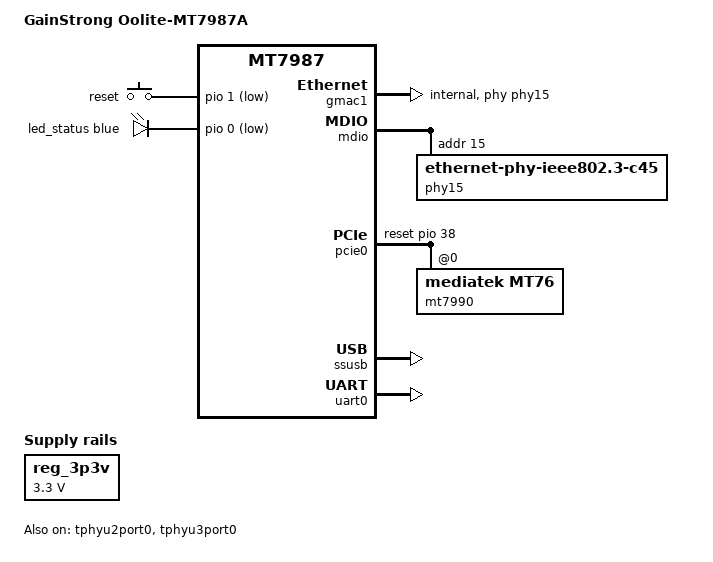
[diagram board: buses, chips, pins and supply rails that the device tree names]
// SPDX-License-Identifier: (GPL-2.0 OR MIT)

/dts-v1/;
#include <dt-bindings/input/input.h>
#include "mt7987a.dtsi"

/ {
	model = "GainStrong Oolite-MT7987A";
	compatible = "gainstrong,oolite-mt7987a",
		     "mediatek,mt7987a", "mediatek,mt7987";

	aliases {
		led-boot = &led_status;
		led-failsafe = &led_status;
		led-running = &led_status;
		led-upgrade = &led_status;
		serial0 = &uart0;
	};

	chosen {
		bootargs = "console=ttyS0,115200n1 earlycon=uart8250,mmio32,0x11000000 pci=pcie_bus_perf root=/dev/fit0 rootwait";
		stdout-path = "serial0:115200n8";
	};

	gpio-keys {
		compatible = "gpio-keys";

		reset {
			label = "reset";
			linux,code = <KEY_RESTART>;
			gpios = <&pio 1 GPIO_ACTIVE_LOW>;
			debounce-interval = <60>;
		};
	};

	gpio-leds {
		compatible = "gpio-leds";

		led_status: status {
			color = <LED_COLOR_ID_BLUE>;
			function = LED_FUNCTION_STATUS;
			gpios = <&pio 0 GPIO_ACTIVE_LOW>;
		};
	};

	reg_3p3v: regulator-3p3v {
		compatible = "regulator-fixed";
		regulator-name = "fixed-3.3V";
		regulator-min-microvolt = <3300000>;
		regulator-max-microvolt = <3300000>;
		regulator-boot-on;
		regulator-always-on;
	};
};

&gmac1 {
	openwrt,netdev-name = "lan";
	phy-mode = "internal";
	phy-handle = <&phy15>;
	status = "okay";
};

&mdio {
	phy15: phy@15 {
		compatible = "ethernet-phy-ieee802.3-c45";
		reg = <15>;
		phy-mode = "internal";
	};
};

&pcie0 {
	pinctrl-names = "default";
	pinctrl-0 = <&pcie0_pins>;
	reset-gpios = <&pio 38 GPIO_ACTIVE_HIGH>;
	status = "okay";

	pcie@0,0 {
		reg = <0x0000 0 0 0 0>;
		#address-cells = <3>;
		#size-cells = <2>;

		mt7990@0,0 {
			compatible = "mediatek,mt76";
			reg = <0x0000 0 0 0 0>;
			#address-cells = <1>;
			#size-cells = <0>;
			device_type = "pci";
			ieee80211-freq-limit = <2400000 2500000>,
					       <5170000 5835000>;
		};
	};
};

&ssusb {
	vusb33-supply = <&reg_3p3v>;
	status = "okay";
};

&tphyu2port0 {
	status = "okay";
};

&tphyu3port0 {
	status = "okay";
};

&uart0 {
	pinctrl-names = "default";
	pinctrl-0 = <&uart0_pins>;
	status = "okay";
};
